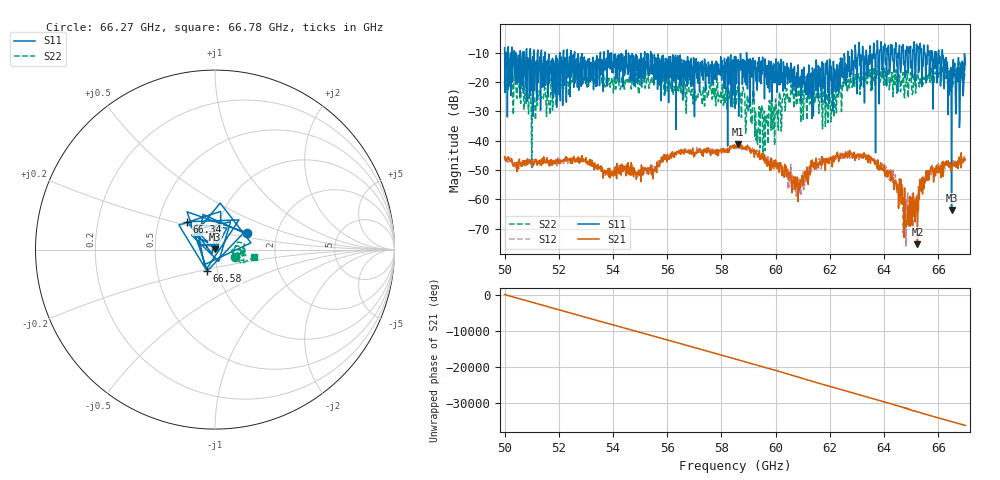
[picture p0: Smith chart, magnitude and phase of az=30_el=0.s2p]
!Created with skrf (http://scikit-rf.org).
# GHz S RI R 50.0
!freq ReS11 ImS11 ReS21 ImS21 ReS12 ImS12 ReS22 ImS22
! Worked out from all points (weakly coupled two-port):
!   1001 points, 50 GHz to 67 GHz, reference 50 ohm
!   highest |S21| = -41.11 dB at 58.6 GHz (marker M1); lowest = -75.3 dB at 65.23 GHz (marker M2)
!   lowest |S11| = -63.6 dB at 66.49 GHz (marker M3), VSWR 1.00, Z = 50 + j0.0643 ohm
!   |S11| at or under -10 dB: 52.58 GHz to 53.53 GHz (950.4 MHz wide, 1.79 % of centre); 55.39 GHz to 58.92 GHz (3.534 GHz wide, 6.18 % of centre); 58.93 GHz to 62.66 GHz (3.739 GHz wide, 6.15 % of centre) (the widest 3 of 62)
!   |S22| runs from -49.2 to -13.2 dB; largest |S21 - S12| = 0.002
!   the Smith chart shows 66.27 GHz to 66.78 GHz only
!   S11 on the Smith chart (normalised r, x): 66.27 GHz: 1.40, +0.27; 66.34 GHz: 0.70, +0.23; 66.58 GHz: 0.89, -0.22; 66.78 GHz: 1.00, +0.03
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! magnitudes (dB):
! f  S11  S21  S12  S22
! 50 GHz  -8.3  -45.5  -46.3  -23.4
! 51.07 GHz  -10.1  -47.7  -46.5  -24.5
! 52.84 GHz  -12.3  -46.9  -46.4  -18.9
! 55.68 GHz  -13.4  -48.1  -46.8  -20.5
! 58.5 GHz  -29.0  -42.0  -42.1  -24.6
! 58.6 GHz  -13.0  -41.1  -42.5  -22.2
! 59.61 GHz  -12.1  -46.8  -46.9  -43.4
! 60.34 GHz  -14.7  -48.2  -48.0  -26.4
! 60.85 GHz  -20.1  -54.6  -56.2  -21.1
! 61.34 GHz  -32.5  -46.6  -49.2  -28.0
! 62.09 GHz  -19.8  -48.9  -46.1  -23.0
! 62.68 GHz  -11.4  -44.2  -43.5  -19.2
! 64.18 GHz  -12.1  -51.0  -52.7  -17.8
! 64.82 GHz  -9.9  -67.3  -60.1  -18.3
! 65.23 GHz  -8.8  -75.3  -61.6  -17.5
! 65.71 GHz  -17.3  -49.9  -50.1  -20.0
! 66.27 GHz  -14.0  -47.3  -49.4  -18.6
! 66.34 GHz  -13.2  -47.8  -47.5  -16.8
! 66.49 GHz  -63.6  -49.6  -48.9  -15.2
! 66.58 GHz  -17.9  -47.7  -47.5  -15.6
! 66.78 GHz  -35.5  -46.6  -46.8  -13.2
! 67 GHz  -14.1  -46.4  -46.9  -14.1
